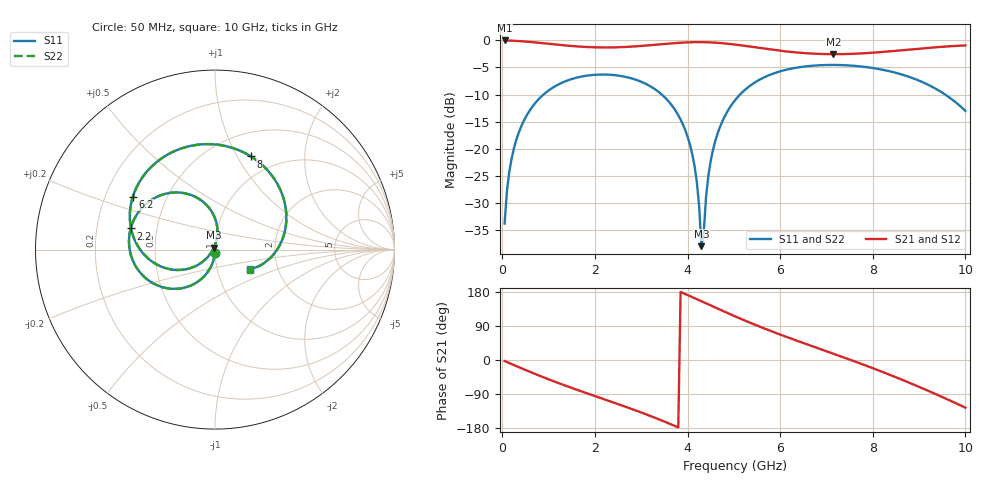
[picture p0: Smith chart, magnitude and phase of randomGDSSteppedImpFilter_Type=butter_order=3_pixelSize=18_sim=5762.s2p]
! freq	dB(S11)	phase(S11)	dB(S12)	phase(S12)
!  dB(S21)	phase(S21)	dB(S22)	phase(S22)
!S-par simulation data
#  GHz  S  DB  R 50
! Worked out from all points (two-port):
!   200 points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, 50 MHz to 10 GHz, reference 50 ohm
!   highest |S21| = 0.00 dB at 50 MHz (marker M1); lowest = -2.5 dB at 7.15 GHz (marker M2)
!   |S21| within 3 dB of the highest: start of sweep to end of sweep
!   lowest |S11| = -38.0 dB at 4.3 GHz (marker M3), VSWR 1.03, Z = 49.4 + j1.08 ohm
!   |S11| at or under -10 dB: start of sweep to 889.8 MHz; 3.444 GHz to 5.134 GHz (1.689 GHz wide, 39.4 % of centre); 9.563 GHz to end of sweep
!   |S22| runs from -37.7 to -4.5 dB; largest |S21 - S12| = 0
!   S11 on the Smith chart (normalised r, x): 50 MHz: 1.00, -0.04; 2.2 GHz: 0.35, +0.11; 6.2 GHz: 0.32, +0.27; 8 GHz: 0.76, +1.14; 10 GHz: 1.44, -0.33
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0.05  -33.84 -92.8  -0.00 -2.7  -0.00 -2.7  -33.84 -92.8
0.1  -27.84 -95.5  -0.01 -5.4  -0.01 -5.4  -27.84 -95.5
0.2  -21.88 -101.0  -0.04 -10.7  -0.04 -10.7  -21.88 -101.0
0.5  -14.27 -116.8  -0.20 -26.3  -0.20 -26.3  -14.27 -116.8
1.1  -8.67 -146.2  -0.70 -55.7  -0.70 -55.7  -8.67 -146.2
1.75  -6.61 -175.1  -1.18 -84.6  -1.18 -84.6  -6.61 -175.1
2.2  -6.30 165.9  -1.30 -103.7  -1.30 -103.7  -6.30 165.9
3.4  -9.68 113.0  -0.72 -157.5  -0.72 -157.5  -9.67 113.0
4.05  -19.19 82.8  -0.34 168.7  -0.34 168.7  -19.19 83.1
4.2  -26.09 81.0  -0.31 160.5  -0.31 160.5  -26.07 81.5
4.3  -38.01 119.6  -0.31 155.0  -0.31 155.0  -37.74 120.8
4.35  -35.47 -154.4  -0.32 152.2  -0.32 152.2  -35.31 -155.8
4.45  -24.97 -134.2  -0.34 146.6  -0.34 146.6  -24.96 -134.7
4.55  -20.21 -135.4  -0.38 141.1  -0.38 141.1  -20.21 -135.8
5.05  -10.79 -158.5  -0.79 113.9  -0.79 113.9  -10.79 -158.6
6.2  -5.28 147.3  -2.10 58.1  -2.10 58.1  -5.28 147.3
6.7  -4.67 125.7  -2.43 36.1  -2.43 36.1  -4.67 125.6
7.15  -4.53 106.4  -2.54 16.6  -2.54 16.6  -4.53 106.3
8  -5.09 68.9  -2.27 -21.6  -2.27 -21.6  -5.09 68.8
8.35  -5.67 52.7  -2.03 -38.2  -2.03 -38.2  -5.67 52.6
9.25  -8.43 8.6  -1.34 -84.1  -1.34 -84.1  -8.43 8.3
10  -13.02 -29.3  -0.93 -125.7  -0.93 -125.7  -13.03 -29.9
